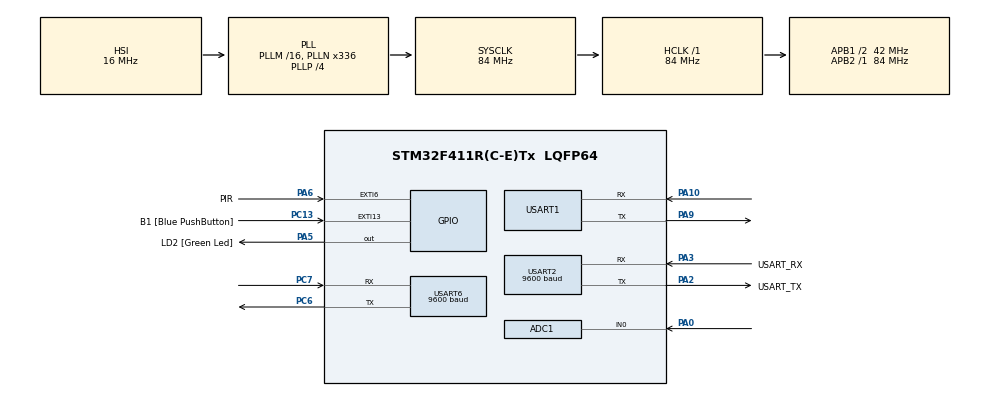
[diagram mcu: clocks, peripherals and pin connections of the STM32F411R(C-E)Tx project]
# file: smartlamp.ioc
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ADC1.Channel-0\#ChannelRegularConversion=ADC_CHANNEL_0
ADC1.Channel-1\#ChannelInjectedConversion=ADC_CHANNEL_0
ADC1.ClockPrescaler=ADC_CLOCK_SYNC_PCLK_DIV4
ADC1.ContinuousConvMode=ENABLE
ADC1.InjNumberOfConversion=1
ADC1.InjectedOffset-1\#ChannelInjectedConversion=0
ADC1.InjectedRank-1\#ChannelInjectedConversion=1
ADC1.NbrOfConversionFlag=1
ADC1.Rank-0\#ChannelRegularConversion=1
ADC1.SamplingTime-0\#ChannelRegularConversion=ADC_SAMPLETIME_480CYCLES
ADC1.SamplingTime-1\#ChannelInjectedConversion=ADC_SAMPLETIME_3CYCLES
ADC1.master=1
Mcu.Family=STM32F4
Mcu.Name=STM32F411R(C-E)Tx
Mcu.Package=LQFP64
NVIC.ADC_IRQn=true\:0\:0\:false\:false\:true\:true\:true\:true
NVIC.EXTI9_5_IRQn=true\:0\:0\:false\:false\:true\:true\:true\:true
NVIC.PriorityGroup=NVIC_PRIORITYGROUP_0
NVIC.USART1_IRQn=true\:0\:0\:false\:false\:true\:true\:true\:true
NVIC.USART2_IRQn=true\:0\:0\:false\:false\:true\:true\:true\:true
NVIC.USART6_IRQn=true\:0\:0\:false\:false\:true\:true\:true\:true
PA0-WKUP.Signal=ADCx_IN0
PA10.Mode=Asynchronous
PA10.Signal=USART1_RX
PA13.GPIO_Label=TMS
PA13.Mode=Serial_Wire
PA13.Signal=SYS_JTMS-SWDIO
PA14.GPIO_Label=TCK
PA14.Mode=Serial_Wire
PA14.Signal=SYS_JTCK-SWCLK
PA2.GPIO_Label=USART_TX
PA2.Mode=Asynchronous
PA2.Signal=USART2_TX
PA3.GPIO_Label=USART_RX
PA3.Mode=Asynchronous
PA3.Signal=USART2_RX
PA5.GPIO_Label=LD2 [Green Led]
PA5.Signal=GPIO_Output
PA6.GPIO_Label=PIR
PA6.GPIO_ModeDefaultEXTI=GPIO_MODE_IT_RISING_FALLING
PA6.GPIO_PuPd=GPIO_NOPULL
PA6.Signal=GPXTI6
PA9.Mode=Asynchronous
PA9.Signal=USART1_TX
PB3.GPIO_Label=SWO
PB3.Signal=SYS_JTDO-SWO
PC13-ANTI_TAMP.GPIO_Label=B1 [Blue PushButton]
PC13-ANTI_TAMP.GPIO_ModeDefaultEXTI=GPIO_MODE_IT_FALLING
PC13-ANTI_TAMP.Signal=GPXTI13
PC14-OSC32_IN.Mode=LSE-External-Oscillator
PC14-OSC32_IN.Signal=RCC_OSC32_IN
PC15-OSC32_OUT.Mode=LSE-External-Oscillator
PC15-OSC32_OUT.Signal=RCC_OSC32_OUT
PC6.Mode=Asynchronous
PC6.Signal=USART6_TX
PC7.Mode=Asynchronous
PC7.Signal=USART6_RX
PH0\ -\ OSC_IN.Mode=HSE-External-Clock-Source
PH0\ -\ OSC_IN.Signal=RCC_OSC_IN
PH1\ -\ OSC_OUT.Mode=HSE-External-Clock-Source
PH1\ -\ OSC_OUT.Signal=RCC_OSC_OUT
ProjectManager.HeapSize=0x200
ProjectManager.StackSize=0x400
ProjectManager.TargetToolchain=MDK-ARM V5.32
RCC.48MHZClocksFreq_Value=84000000
RCC.AHBFreq_Value=84000000
RCC.APB1CLKDivider=RCC_HCLK_DIV2
RCC.APB1Freq_Value=42000000
RCC.APB1TimFreq_Value=84000000
RCC.APB2Freq_Value=84000000
RCC.APB2TimFreq_Value=84000000
RCC.CortexFreq_Value=84000000
RCC.FLatency-AdvancedSettings=FLASH_LATENCY_2
RCC.HCLKFreq_Value=84000000
RCC.HSE_VALUE=8000000
RCC.HSI_VALUE=16000000
RCC.PLLN=336
RCC.PLLP=RCC_PLLP_DIV4
RCC.SYSCLKFreq_VALUE=84000000
RCC.SYSCLKSource=RCC_SYSCLKSOURCE_PLLCLK
RCC.VCOOutputFreq_Value=336000000
SH.ADCx_IN0.0=ADC1_IN0,IN0
USART1.VirtualMode=VM_ASYNC
USART2.BaudRate=9600
USART2.VirtualMode=VM_ASYNC
USART6.BaudRate=9600
USART6.VirtualMode=VM_ASYNC
board=NUCLEO-F411RE

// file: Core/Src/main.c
/* USER CODE BEGIN Header */
/**
  ******************************************************************************
  * @file           : main.c
  * @brief          : Main program body
  ******************************************************************************
  * @attention
  *
  * Copyright (c) 2025 STMicroelectronics.
  * All rights reserved.
  *
  * This software is licensed under terms that can be found in the LICENSE file
  * in the root directory of this software component.
  * If no LICENSE file comes with this software, it is provided AS-IS.
  *
  ******************************************************************************
  */
/* USER CODE END Header */
#include "main.h"

/* USER CODE BEGIN Includes */
#include "string.h"
#include "stdio.h"
#include <stdbool.h>
/* USER CODE END Includes */

/* USER CODE BEGIN PD */
#define BLE_BAUD        9600      // HC-06 기본
#define UNO_BAUD        115200    // UNO와 동일
#define STAT_PERIOD_MS  1000      // SENSOR 프레임 전송 주기
#define PIR_WARMUP_MS   3000
#define PIR_DEBOUNCE_MS 80
#define BLE_LINE_TIMEOUT_MS 400

#define CMD_GAP_MS       1200
#define OCC_HOLD_MS      30000
#define MOTION_GRACE_MS  5000
#define DARK_MOTION_WINDOW_MS  8000  // 어둠/움직임 서로 8초 안에 오면 켬
#define ON_CMD  "MODE:SOLID;R:255;G:140;B:40;BRI:130\n"
#define OFF_CMD "MODE:OFF\n"

// ── EMA + 적응 임계 ──
#define EMA_ALPHA          0.14f   // 빠른 밝기 추종(0.05~0.2 권장)
#define BASE_ALPHA         0.03f   // 느린 기준선(환경 적응)
#define THR_RATIO          0.64f   // 기준선 대비 어두움 임계 비율
#define THR_MIN_V          0.32f   // 임계 하한(너무 낮게 내려가는 것 방지)
#define THR_MAX_V          1.80f   // 임계 상한
#define HYS_V              0.03f   // 히스테리시스 (밝기 진동 방지)
#define DARK_HOLD_MS       200     // 어두움 검출 후 유효 판정까지 유지 시간
#define BRIGHT_HOLD_MS     5000    // 밝아진 상태가 이 시간 지속되면 보조 소등 조건

/* USER CODE END PD */

ADC_HandleTypeDef hadc1;

UART_HandleTypeDef huart1;
UART_HandleTypeDef huart2;
UART_HandleTypeDef huart6;

/* USER CODE BEGIN PV */
char     ble_line[256];
volatile uint16_t ble_w = 0;
uint8_t  ble_rx, ble6_rx, uno_rx;

volatile uint16_t cds_raw_last = 0;

volatile uint8_t  pir_state = 0;
volatile uint32_t pir_last_ms = 0;
uint32_t          boot_ms = 0, last_stat_ms = 0;
volatile uint32_t ble_last_rx_ms = 0;
volatile uint32_t adc_hits = 0;
// AUTO enable/상태
uint8_t  auto_enabled   = 1;
uint8_t  led_on         = 0;
uint32_t last_motion_ms = 0;
uint32_t last_cmd_ms    = 0;

// EMA/임계 관련
float    cds_v_ema   = 0.0f;   // 단기 EMA
float    cds_v_base  = 1.0f;   // 장기 기준선(느리게 학습)
float    dark_thr_v  = 0.8f;   // 현재 사용 중 임계
uint8_t  is_dark     = 0;      // 어두움 상태 머신
uint32_t dark_since_ms   = 0;  // 어두움 시작 시각
uint32_t bright_since_ms = 0;  // 밝음 시작 시각
/* USER CODE END PV */

void SystemClock_Config(void);
static void MX_GPIO_Init(void);
static void MX_USART2_UART_Init(void);
static void MX_ADC1_Init(void);
static void MX_USART1_UART_Init(void);
static void MX_USART6_UART_Init(void);
/* USER CODE BEGIN PFP */
static void StartUarts(void);
static void StartAdcIt(void);
static void send_sensor_line(void);

static void send_uno_line(const char *s);
static void auto_tick(void);
static inline float clampf(float x, float lo, float hi);
/* USER CODE END PFP */

int main(void)
{

  /* MCU Configuration--------------------------------------------------------*/

  /* Reset of all peripherals, Initializes the Flash interface and the Systick. */
  HAL_Init();

  /* Configure the system clock */
  SystemClock_Config();

  /* Initialize all configured peripherals */
  MX_GPIO_Init();
  MX_USART2_UART_Init();
  MX_ADC1_Init();
  MX_USART1_UART_Init();
  MX_USART6_UART_Init();
  /* USER CODE BEGIN 2 */
// 보레이트 보정(필요 시)
if (huart2.Init.BaudRate != BLE_BAUD) { HAL_UART_DeInit(&huart2); huart2.Init.BaudRate = BLE_BAUD; HAL_UART_Init(&huart2); }
if (huart1.Init.BaudRate != UNO_BAUD) { HAL_UART_DeInit(&huart1); huart1.Init.BaudRate = UNO_BAUD; HAL_UART_Init(&huart1); }

StartUarts();
StartAdcIt();
boot_ms = HAL_GetTick();

// 배너(디버그)
const char *bn = "READY@STM BRIDGE+SENSORS\r\n";
HAL_UART_Transmit(&huart2, (uint8_t*)bn, strlen(bn), 100);
HAL_UART_Receive_IT(&huart2, &ble_rx, 1);   // PC
HAL_UART_Receive_IT(&huart6, &ble6_rx, 1);  // HC-06
HAL_UART_Receive_IT(&huart1, &uno_rx, 1);   // UNO

  /* USER CODE END 2 */

  /* Infinite loop */
  while (1)
  {

    /* USER CODE BEGIN 3 */

uint32_t now = HAL_GetTick();

uint16_t n = 0;
char tmp[256];

__disable_irq();  // 아주 짧게: 길이 스냅샷 + 복사만
if (ble_w > 0 && (uint32_t)(now - ble_last_rx_ms) > BLE_LINE_TIMEOUT_MS) {
  n = ble_w;
  if (n > sizeof(tmp)) n = sizeof(tmp);
  memcpy(tmp, ble_line, n);
  ble_w = 0;
}
__enable_irq();

if (n) {
  HAL_UART_Transmit(&huart1, (uint8_t*)tmp, n, 100);
  HAL_UART_Transmit(&huart1, (uint8_t*)"\n", 1, 100);  // 줄끝 보정
}

// --- 2) 센서 프레임 주기 송신 ---
now = HAL_GetTick();
if ((uint32_t)(now - last_stat_ms) >= STAT_PERIOD_MS) {
  last_stat_ms = now;
  send_sensor_line();            // 블로킹 길지 않게 유지
}
auto_tick();
// --- 3) 짧게 쉼 ---
HAL_Delay(2);
  }
  /* USER CODE END 3 */
}

void SystemClock_Config(void)
{
  RCC_OscInitTypeDef RCC_OscInitStruct = {0};
  RCC_ClkInitTypeDef RCC_ClkInitStruct = {0};

  /** Configure the main internal regulator output voltage
  */
  __HAL_RCC_PWR_CLK_ENABLE();
  __HAL_PWR_VOLTAGESCALING_CONFIG(PWR_REGULATOR_VOLTAGE_SCALE1);

  /** Initializes the RCC Oscillators according to the specified parameters
  * in the RCC_OscInitTypeDef structure.
  */
  RCC_OscInitStruct.OscillatorType = RCC_OSCILLATORTYPE_HSI;
  RCC_OscInitStruct.HSIState = RCC_HSI_ON;
  RCC_OscInitStruct.HSICalibrationValue = RCC_HSICALIBRATION_DEFAULT;
  RCC_OscInitStruct.PLL.PLLState = RCC_PLL_ON;
  RCC_OscInitStruct.PLL.PLLSource = RCC_PLLSOURCE_HSI;
  RCC_OscInitStruct.PLL.PLLM = 16;
  RCC_OscInitStruct.PLL.PLLN = 336;
  RCC_OscInitStruct.PLL.PLLP = RCC_PLLP_DIV4;
  RCC_OscInitStruct.PLL.PLLQ = 4;
  if (HAL_RCC_OscConfig(&RCC_OscInitStruct) != HAL_OK)
  {
    Error_Handler();
  }

  /** Initializes the CPU, AHB and APB buses clocks
  */
  RCC_ClkInitStruct.ClockType = RCC_CLOCKTYPE_HCLK|RCC_CLOCKTYPE_SYSCLK
                              |RCC_CLOCKTYPE_PCLK1|RCC_CLOCKTYPE_PCLK2;
  RCC_ClkInitStruct.SYSCLKSource = RCC_SYSCLKSOURCE_PLLCLK;
  RCC_ClkInitStruct.AHBCLKDivider = RCC_SYSCLK_DIV1;
  RCC_ClkInitStruct.APB1CLKDivider = RCC_HCLK_DIV2;
  RCC_ClkInitStruct.APB2CLKDivider = RCC_HCLK_DIV1;

  if (HAL_RCC_ClockConfig(&RCC_ClkInitStruct, FLASH_LATENCY_2) != HAL_OK)
  {
    Error_Handler();
  }
}

static void MX_ADC1_Init(void)
{

  ADC_ChannelConfTypeDef sConfig = {0};
  ADC_InjectionConfTypeDef sConfigInjected = {0};

  /** Configure the global features of the ADC (Clock, Resolution, Data Alignment and number of conversion)
  */
  hadc1.Instance = ADC1;
  hadc1.Init.ClockPrescaler = ADC_CLOCK_SYNC_PCLK_DIV4;
  hadc1.Init.Resolution = ADC_RESOLUTION_12B;
  hadc1.Init.ScanConvMode = DISABLE;
  hadc1.Init.ContinuousConvMode = ENABLE;
  hadc1.Init.DiscontinuousConvMode = DISABLE;
  hadc1.Init.ExternalTrigConvEdge = ADC_EXTERNALTRIGCONVEDGE_NONE;
  hadc1.Init.ExternalTrigConv = ADC_SOFTWARE_START;
  hadc1.Init.DataAlign = ADC_DATAALIGN_RIGHT;
  hadc1.Init.NbrOfConversion = 1;
  hadc1.Init.DMAContinuousRequests = DISABLE;
  hadc1.Init.EOCSelection = ADC_EOC_SINGLE_CONV;
  if (HAL_ADC_Init(&hadc1) != HAL_OK)
  {
    Error_Handler();
  }

  /** Configure for the selected ADC regular channel its corresponding rank in the sequencer and its sample time.
  */
  sConfig.Channel = ADC_CHANNEL_0;
  sConfig.Rank = 1;
  sConfig.SamplingTime = ADC_SAMPLETIME_480CYCLES;
  if (HAL_ADC_ConfigChannel(&hadc1, &sConfig) != HAL_OK)
  {
    Error_Handler();
  }

  /** Configures for the selected ADC injected channel its corresponding rank in the sequencer and its sample time
  */
  sConfigInjected.InjectedChannel = ADC_CHANNEL_0;
  sConfigInjected.InjectedRank = 1;
  sConfigInjected.InjectedNbrOfConversion = 1;
  sConfigInjected.InjectedSamplingTime = ADC_SAMPLETIME_3CYCLES;
  sConfigInjected.ExternalTrigInjecConvEdge = ADC_EXTERNALTRIGINJECCONVEDGE_NONE;
  sConfigInjected.ExternalTrigInjecConv = ADC_INJECTED_SOFTWARE_START;
  sConfigInjected.AutoInjectedConv = DISABLE;
  sConfigInjected.InjectedDiscontinuousConvMode = DISABLE;
  sConfigInjected.InjectedOffset = 0;
  if (HAL_ADCEx_InjectedConfigChannel(&hadc1, &sConfigInjected) != HAL_OK)
  {
    Error_Handler();
  }

}

static void MX_USART1_UART_Init(void)
{

  huart1.Instance = USART1;
  huart1.Init.BaudRate = 115200;
  huart1.Init.WordLength = UART_WORDLENGTH_8B;
  huart1.Init.StopBits = UART_STOPBITS_1;
  huart1.Init.Parity = UART_PARITY_NONE;
  huart1.Init.Mode = UART_MODE_TX_RX;
  huart1.Init.HwFlowCtl = UART_HWCONTROL_NONE;
  huart1.Init.OverSampling = UART_OVERSAMPLING_16;
  if (HAL_UART_Init(&huart1) != HAL_OK)
  {
    Error_Handler();
  }

}

static void MX_USART2_UART_Init(void)
{

  huart2.Instance = USART2;
  huart2.Init.BaudRate = 9600;
  huart2.Init.WordLength = UART_WORDLENGTH_8B;
  huart2.Init.StopBits = UART_STOPBITS_1;
  huart2.Init.Parity = UART_PARITY_NONE;
  huart2.Init.Mode = UART_MODE_TX_RX;
  huart2.Init.HwFlowCtl = UART_HWCONTROL_NONE;
  huart2.Init.OverSampling = UART_OVERSAMPLING_16;
  if (HAL_UART_Init(&huart2) != HAL_OK)
  {
    Error_Handler();
  }

}

static void MX_USART6_UART_Init(void)
{

  huart6.Instance = USART6;
  huart6.Init.BaudRate = 9600;
  huart6.Init.WordLength = UART_WORDLENGTH_8B;
  huart6.Init.StopBits = UART_STOPBITS_1;
  huart6.Init.Parity = UART_PARITY_NONE;
  huart6.Init.Mode = UART_MODE_TX_RX;
  huart6.Init.HwFlowCtl = UART_HWCONTROL_NONE;
  huart6.Init.OverSampling = UART_OVERSAMPLING_16;
  if (HAL_UART_Init(&huart6) != HAL_OK)
  {
    Error_Handler();
  }

}

static void MX_GPIO_Init(void)
{
  GPIO_InitTypeDef GPIO_InitStruct = {0};

  /* GPIO Ports Clock Enable */
  __HAL_RCC_GPIOC_CLK_ENABLE();
  __HAL_RCC_GPIOH_CLK_ENABLE();
  __HAL_RCC_GPIOA_CLK_ENABLE();
  __HAL_RCC_GPIOB_CLK_ENABLE();

  /*Configure GPIO pin Output Level */
  HAL_GPIO_WritePin(LD2_GPIO_Port, LD2_Pin, GPIO_PIN_RESET);

  /*Configure GPIO pin : B1_Pin */
  GPIO_InitStruct.Pin = B1_Pin;
  GPIO_InitStruct.Mode = GPIO_MODE_IT_FALLING;
  GPIO_InitStruct.Pull = GPIO_NOPULL;
  HAL_GPIO_Init(B1_GPIO_Port, &GPIO_InitStruct);

  /*Configure GPIO pin : LD2_Pin */
  GPIO_InitStruct.Pin = LD2_Pin;
  GPIO_InitStruct.Mode = GPIO_MODE_OUTPUT_PP;
  GPIO_InitStruct.Pull = GPIO_NOPULL;
  GPIO_InitStruct.Speed = GPIO_SPEED_FREQ_LOW;
  HAL_GPIO_Init(LD2_GPIO_Port, &GPIO_InitStruct);

  /*Configure GPIO pin : PIR_Pin */
  GPIO_InitStruct.Pin = PIR_Pin;
  GPIO_InitStruct.Mode = GPIO_MODE_IT_RISING_FALLING;
  GPIO_InitStruct.Pull = GPIO_NOPULL;
  HAL_GPIO_Init(PIR_GPIO_Port, &GPIO_InitStruct);

  /* EXTI interrupt init*/
  HAL_NVIC_SetPriority(EXTI9_5_IRQn, 0, 0);
  HAL_NVIC_EnableIRQ(EXTI9_5_IRQn);

}

/* USER CODE BEGIN 4 */
static void StartUarts(void){
  HAL_UART_Receive_IT(&huart2, &ble_rx, 1);   // PC
	HAL_UART_Receive_IT(&huart6, &ble6_rx, 1); // HC-06 수신 시작
  HAL_UART_Receive_IT(&huart1, &uno_rx, 1);   // (옵션) UNO 수신
}

static void StartAdcIt(void){
  HAL_ADC_Start_IT(&hadc1);                   // 연속 변환 + EOC마다 콜백
}

void HAL_UART_RxCpltCallback(UART_HandleTypeDef *huart){

 if (huart == &huart2) {                 // PC/푸티
    ble_last_rx_ms = HAL_GetTick();
    char c = (char)ble_rx;

    if (c=='0'||c=='1'||c=='2') {
      HAL_UART_Transmit(&huart1, (uint8_t*)&c, 1, 20);
      uint8_t lf='\n'; HAL_UART_Transmit(&huart1, &lf, 1, 20);
    } else if (c=='\r' || c=='\n') {
      if (ble_w>0){
        HAL_UART_Transmit(&huart1, (uint8_t*)ble_line, ble_w, 50);
        uint8_t lf='\n'; HAL_UART_Transmit(&huart1, &lf, 1, 20);
        ble_w = 0;
      }
    } else {
      if (ble_w < sizeof(ble_line)-1) ble_line[ble_w++] = c;
      else ble_w = 0;
    }

    HAL_UART_Receive_IT(&huart2, &ble_rx, 1);
  }
  else if (huart == &huart6) {            // HC-06(BLE)
    ble_last_rx_ms = HAL_GetTick();
    char c = (char)ble6_rx;

    if (c=='0'||c=='1'||c=='2') {
      HAL_UART_Transmit(&huart1, (uint8_t*)&c, 1, 20);
      uint8_t lf='\n'; HAL_UART_Transmit(&huart1, &lf, 1, 20);
    } else if (c=='\r' || c=='\n') {
      if (ble_w>0){
        HAL_UART_Transmit(&huart1, (uint8_t*)ble_line, ble_w, 50);
        uint8_t lf='\n'; HAL_UART_Transmit(&huart1, &lf, 1, 20);
        ble_w = 0;
      }
    } else {
      if (ble_w < sizeof(ble_line)-1) ble_line[ble_w++] = c;
      else ble_w = 0;
    }

    HAL_UART_Receive_IT(&huart6, &ble6_rx, 1);
  }
  else if (huart == &huart1) {            // UNO → STM (지금은 무시)
    HAL_UART_Receive_IT(&huart1, &uno_rx, 1);
  }
}
void HAL_ADC_ConvCpltCallback(ADC_HandleTypeDef* hadc){
  if (hadc == &hadc1) {
    cds_raw_last = (uint16_t)HAL_ADC_GetValue(&hadc1);
		 adc_hits++;

  }
}

static void send_sensor_line(void){
  // UNO로 전송할 센서 프레임 (UNO는 이 라인을 Wi-Fi로 서버에 올림)
  char s[96];
  float v = (cds_raw_last / 4095.0f) * 3.3f;
  int n = snprintf(s, sizeof(s), "SENSOR@PIR=%u@CdS_raw=%u@V=%.3f\r\n",
                   pir_state, cds_raw_last, v);
  HAL_UART_Transmit(&huart1, (uint8_t*)s, n, 100);
}
static inline float clampf(float x, float lo, float hi){
  return (x < lo) ? lo : (x > hi) ? hi : x;
}

static void send_uno_line(const char *s){
  HAL_UART_Transmit(&huart1, (uint8_t*)s, strlen(s), 50);
}

static void auto_tick(void){
  if (!auto_enabled) return;
  uint32_t now = HAL_GetTick();

  // 1) ADC → 전압
	uint16_t raw = cds_raw_last;
  float v = (cds_raw_last / 4095.0f) * 3.3f;

  // 2) EMA 업데이트 (첫 시작 시 초기화)
  if (cds_v_ema == 0.0f) {
    cds_v_ema  = v;
    cds_v_base = v;
  } else {
    cds_v_ema  += EMA_ALPHA  * (v - cds_v_ema);   // 빠른 추종
  // 어둠이 아닐 때만(밝을 때만) 기준선 천천히 학습 → 임계가 어둠 쪽으로 같이 내려가지 않음
		if (!is_dark) {
			cds_v_base += BASE_ALPHA * (cds_v_ema - cds_v_base);
}
  }

  // 3) 적응 임계 + 히스테리시스
  dark_thr_v = clampf(THR_RATIO * cds_v_base, THR_MIN_V, THR_MAX_V);

  if (is_dark) {
    if (cds_v_ema > dark_thr_v + HYS_V) {
      is_dark = 0;
      bright_since_ms = now;
    }
  } else {
    if (cds_v_ema < dark_thr_v - HYS_V) {
      is_dark = 1;
      dark_since_ms = now;
    }
  }
// 4) 켜기 조건:
	bool dark_ready    = is_dark && (now - dark_since_ms) >= DARK_HOLD_MS;
	bool recent_motion = (pir_state == 1) || ((now - last_motion_ms) <= DARK_MOTION_WINDOW_MS);

if (!led_on && dark_ready && recent_motion && (now - last_cmd_ms) > CMD_GAP_MS) {
  send_uno_line(ON_CMD);
  led_on      = 1;
  last_cmd_ms = now;
}
  // 5) 끄기 조건:
  //    (a) 무동작이 OCC_HOLD_MS 초과  또는
  //    (b) 충분히 밝아진 상태가 BRIGHT_HOLD_MS 지속
  if (led_on &&
      ((now - last_motion_ms) > OCC_HOLD_MS ||
       (!is_dark && (now - bright_since_ms) > BRIGHT_HOLD_MS)) &&
      (now - last_cmd_ms) > CMD_GAP_MS) {

    send_uno_line(OFF_CMD);
    led_on      = 0;
    last_cmd_ms = now;
  }
			// ===== 디버그 로그 (1초에 한 번) =====
static uint32_t last_dbg=0;
if (now - last_dbg > 1000) {
  last_dbg = now;
  char s[160];
  int n = snprintf(s, sizeof(s),
    "AUTO hits=%lu v=%.2f ema=%.2f base=%.2f thr=%.2f dark=%d pir=%d on=%d\r\n",
    (unsigned long)adc_hits,
    (float)((cds_raw_last/4095.0f)*3.3f),
    cds_v_ema, cds_v_base, dark_thr_v, is_dark, pir_state, led_on);
  HAL_UART_Transmit(&huart2, (uint8_t*)s, n, 200);
}
// ====================================
}

// PIR 인터럽트: 마지막 움직임 기록
void HAL_GPIO_EXTI_Callback(uint16_t GPIO_Pin){
  if (GPIO_Pin == PIR_Pin) {
    uint32_t t = HAL_GetTick();

    // 1) 워밍업 & 디바운스
    if (t - boot_ms < PIR_WARMUP_MS) return;
    if (t - pir_last_ms < PIR_DEBOUNCE_MS) return;
    pir_last_ms = t;

    // 2) 현재 레벨 읽고 상태 갱신
    uint8_t level = (HAL_GPIO_ReadPin(PIR_GPIO_Port, PIR_Pin) == GPIO_PIN_SET) ? 1 : 0;
    pir_state = level;

    // 3) 상승(감지) 시각 기록 → AUTO 로직이 이걸로 On/Off 판단
    if (level) {
      last_motion_ms = t;
    }

    // (선택) 디버그
     HAL_GPIO_TogglePin(LD2_GPIO_Port, LD2_Pin);
  }
}
void HAL_ADC_ErrorCallback(ADC_HandleTypeDef* hadc){
  if (hadc == &hadc1) {
    // OVR 플래그 클리어 후 재가동
    __HAL_ADC_CLEAR_FLAG(&hadc1, ADC_FLAG_OVR);
    HAL_ADC_Stop_IT(&hadc1);
    HAL_ADC_Start_IT(&hadc1);
  }
}

/* USER CODE END 4 */

void Error_Handler(void)
{
  __disable_irq();
  while (1)
  {
  }
}
